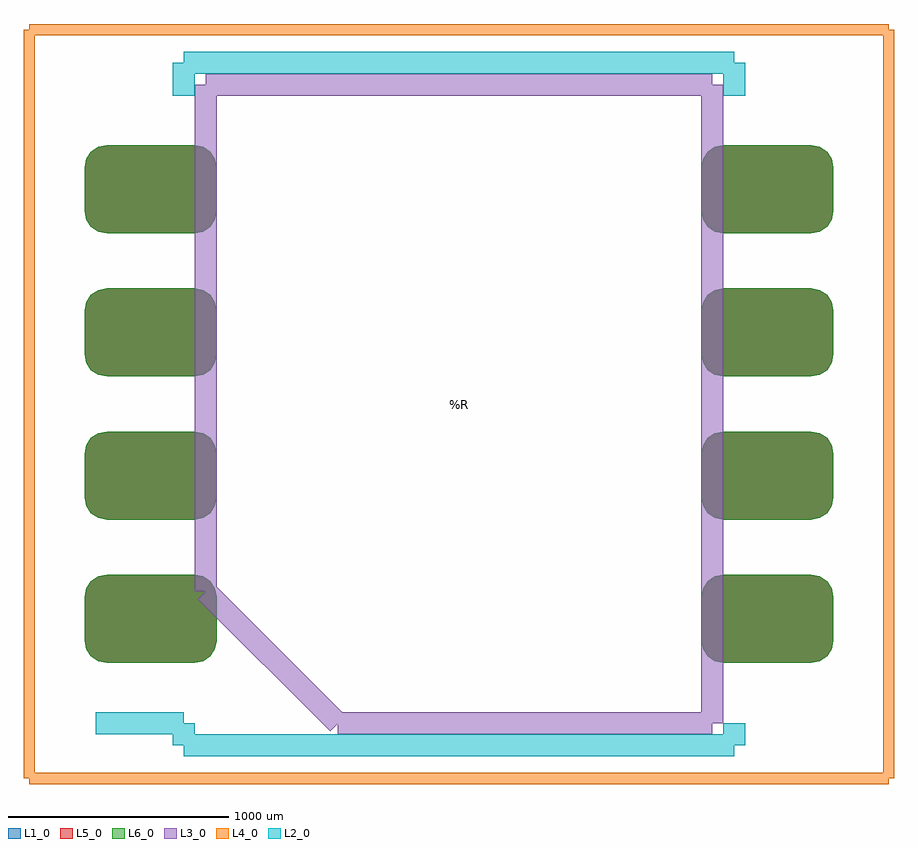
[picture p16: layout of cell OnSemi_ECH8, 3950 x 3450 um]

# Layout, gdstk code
import gdstk
lib = gdstk.Library(unit=1e-6, precision=1e-09)
def P(c, l, *ps):  # polygons
    for p in ps: c.add(gdstk.Polygon(p, *l))
L1_0 = (1, 0)
L2_0 = (2, 0)
L3_0 = (3, 0)
L4_0 = (4, 0)
L5_0 = (5, 0)
L6_0 = (6, 0)

onsemi_ech8 = lib.new_cell('OnSemi_ECH8')
P(onsemi_ech8, L1_0, [(1100,-1075),(1108,-1113),(1129,-1146),(1162,-1167),(1200,-1175),(1600,-1175),(1638,-1167),(1671,-1146),(1692,-1113),(1700,-1075),(1700,-875),(1692,-837),(1671,-804),(1638,-783),(1600,-775),(1200,-775),(1162,-783),(1129,-804),(1108,-837),(1100,-875)],
  [(1100,-425),(1108,-463),(1129,-496),(1162,-517),(1200,-525),(1600,-525),(1638,-517),(1671,-496),(1692,-463),(1700,-425),(1700,-225),(1692,-187),(1671,-154),(1638,-133),(1600,-125),(1200,-125),(1162,-133),(1129,-154),(1108,-187),(1100,-225)],
  [(1100,225),(1108,187),(1129,154),(1162,133),(1200,125),(1600,125),(1638,133),(1671,154),(1692,187),(1700,225),(1700,425),(1692,463),(1671,496),(1638,517),(1600,525),(1200,525),(1162,517),(1129,496),(1108,463),(1100,425)],
  [(1100,875),(1108,837),(1129,804),(1162,783),(1200,775),(1600,775),(1638,783),(1671,804),(1692,837),(1700,875),(1700,1075),(1692,1113),(1671,1146),(1638,1167),(1600,1175),(1200,1175),(1162,1167),(1129,1146),(1108,1113),(1100,1075)],
  [(-1700,875),(-1692,837),(-1671,804),(-1638,783),(-1600,775),(-1200,775),(-1162,783),(-1129,804),(-1108,837),(-1100,875),(-1100,1075),(-1108,1113),(-1129,1146),(-1162,1167),(-1200,1175),(-1600,1175),(-1638,1167),(-1671,1146),(-1692,1113),(-1700,1075)],
  [(-1700,225),(-1692,187),(-1671,154),(-1638,133),(-1600,125),(-1200,125),(-1162,133),(-1129,154),(-1108,187),(-1100,225),(-1100,425),(-1108,463),(-1129,496),(-1162,517),(-1200,525),(-1600,525),(-1638,517),(-1671,496),(-1692,463),(-1700,425)],
  [(-1700,-425),(-1692,-463),(-1671,-496),(-1638,-517),(-1600,-525),(-1200,-525),(-1162,-517),(-1129,-496),(-1108,-463),(-1100,-425),(-1100,-225),(-1108,-187),(-1129,-154),(-1162,-133),(-1200,-125),(-1600,-125),(-1638,-133),(-1671,-154),(-1692,-187),(-1700,-225)],
  [(-1700,-1075),(-1692,-1113),(-1671,-1146),(-1638,-1167),(-1600,-1175),(-1200,-1175),(-1162,-1167),(-1129,-1146),(-1108,-1113),(-1100,-1075),(-1100,-875),(-1108,-837),(-1129,-804),(-1162,-783),(-1200,-775),(-1600,-775),(-1638,-783),(-1671,-804),(-1692,-837),(-1700,-875)])
P(onsemi_ech8, L5_0, [(1100,-1075),(1108,-1113),(1129,-1146),(1162,-1167),(1200,-1175),(1600,-1175),(1638,-1167),(1671,-1146),(1692,-1113),(1700,-1075),(1700,-875),(1692,-837),(1671,-804),(1638,-783),(1600,-775),(1200,-775),(1162,-783),(1129,-804),(1108,-837),(1100,-875)],
  [(1100,-425),(1108,-463),(1129,-496),(1162,-517),(1200,-525),(1600,-525),(1638,-517),(1671,-496),(1692,-463),(1700,-425),(1700,-225),(1692,-187),(1671,-154),(1638,-133),(1600,-125),(1200,-125),(1162,-133),(1129,-154),(1108,-187),(1100,-225)],
  [(1100,225),(1108,187),(1129,154),(1162,133),(1200,125),(1600,125),(1638,133),(1671,154),(1692,187),(1700,225),(1700,425),(1692,463),(1671,496),(1638,517),(1600,525),(1200,525),(1162,517),(1129,496),(1108,463),(1100,425)],
  [(1100,875),(1108,837),(1129,804),(1162,783),(1200,775),(1600,775),(1638,783),(1671,804),(1692,837),(1700,875),(1700,1075),(1692,1113),(1671,1146),(1638,1167),(1600,1175),(1200,1175),(1162,1167),(1129,1146),(1108,1113),(1100,1075)],
  [(-1700,875),(-1692,837),(-1671,804),(-1638,783),(-1600,775),(-1200,775),(-1162,783),(-1129,804),(-1108,837),(-1100,875),(-1100,1075),(-1108,1113),(-1129,1146),(-1162,1167),(-1200,1175),(-1600,1175),(-1638,1167),(-1671,1146),(-1692,1113),(-1700,1075)],
  [(-1700,225),(-1692,187),(-1671,154),(-1638,133),(-1600,125),(-1200,125),(-1162,133),(-1129,154),(-1108,187),(-1100,225),(-1100,425),(-1108,463),(-1129,496),(-1162,517),(-1200,525),(-1600,525),(-1638,517),(-1671,496),(-1692,463),(-1700,425)],
  [(-1700,-425),(-1692,-463),(-1671,-496),(-1638,-517),(-1600,-525),(-1200,-525),(-1162,-517),(-1129,-496),(-1108,-463),(-1100,-425),(-1100,-225),(-1108,-187),(-1129,-154),(-1162,-133),(-1200,-125),(-1600,-125),(-1638,-133),(-1671,-154),(-1692,-187),(-1700,-225)],
  [(-1700,-1075),(-1692,-1113),(-1671,-1146),(-1638,-1167),(-1600,-1175),(-1200,-1175),(-1162,-1167),(-1129,-1146),(-1108,-1113),(-1100,-1075),(-1100,-875),(-1108,-837),(-1129,-804),(-1162,-783),(-1200,-775),(-1600,-775),(-1638,-783),(-1671,-804),(-1692,-837),(-1700,-875)])
P(onsemi_ech8, L6_0, [(1100,-1075),(1108,-1113),(1129,-1146),(1162,-1167),(1200,-1175),(1600,-1175),(1638,-1167),(1671,-1146),(1692,-1113),(1700,-1075),(1700,-875),(1692,-837),(1671,-804),(1638,-783),(1600,-775),(1200,-775),(1162,-783),(1129,-804),(1108,-837),(1100,-875)],
  [(1100,-425),(1108,-463),(1129,-496),(1162,-517),(1200,-525),(1600,-525),(1638,-517),(1671,-496),(1692,-463),(1700,-425),(1700,-225),(1692,-187),(1671,-154),(1638,-133),(1600,-125),(1200,-125),(1162,-133),(1129,-154),(1108,-187),(1100,-225)],
  [(1100,225),(1108,187),(1129,154),(1162,133),(1200,125),(1600,125),(1638,133),(1671,154),(1692,187),(1700,225),(1700,425),(1692,463),(1671,496),(1638,517),(1600,525),(1200,525),(1162,517),(1129,496),(1108,463),(1100,425)],
  [(1100,875),(1108,837),(1129,804),(1162,783),(1200,775),(1600,775),(1638,783),(1671,804),(1692,837),(1700,875),(1700,1075),(1692,1113),(1671,1146),(1638,1167),(1600,1175),(1200,1175),(1162,1167),(1129,1146),(1108,1113),(1100,1075)],
  [(-1700,875),(-1692,837),(-1671,804),(-1638,783),(-1600,775),(-1200,775),(-1162,783),(-1129,804),(-1108,837),(-1100,875),(-1100,1075),(-1108,1113),(-1129,1146),(-1162,1167),(-1200,1175),(-1600,1175),(-1638,1167),(-1671,1146),(-1692,1113),(-1700,1075)],
  [(-1700,225),(-1692,187),(-1671,154),(-1638,133),(-1600,125),(-1200,125),(-1162,133),(-1129,154),(-1108,187),(-1100,225),(-1100,425),(-1108,463),(-1129,496),(-1162,517),(-1200,525),(-1600,525),(-1638,517),(-1671,496),(-1692,463),(-1700,425)],
  [(-1700,-425),(-1692,-463),(-1671,-496),(-1638,-517),(-1600,-525),(-1200,-525),(-1162,-517),(-1129,-496),(-1108,-463),(-1100,-425),(-1100,-225),(-1108,-187),(-1129,-154),(-1162,-133),(-1200,-125),(-1600,-125),(-1638,-133),(-1671,-154),(-1692,-187),(-1700,-225)],
  [(-1700,-1075),(-1692,-1113),(-1671,-1146),(-1638,-1167),(-1600,-1175),(-1200,-1175),(-1162,-1167),(-1129,-1146),(-1108,-1113),(-1100,-1075),(-1100,-875),(-1108,-837),(-1129,-804),(-1162,-783),(-1200,-775),(-1600,-775),(-1638,-783),(-1671,-804),(-1692,-837),(-1700,-875)])
onsemi_ech8.add(gdstk.FlexPath([(1950,-1700),(-1950,-1700)], 50, ends="flush", simple_path=True, layer=4, datatype=0))  # L4_0
onsemi_ech8.add(gdstk.FlexPath([(1950,1700),(1950,-1700)], 50, ends="flush", simple_path=True, layer=4, datatype=0))  # L4_0
onsemi_ech8.add(gdstk.FlexPath([(-1950,1700),(1950,1700)], 50, ends="flush", simple_path=True, layer=4, datatype=0))  # L4_0
onsemi_ech8.add(gdstk.FlexPath([(-1950,-1700),(-1950,1700)], 50, ends="flush", simple_path=True, layer=4, datatype=0))  # L4_0
onsemi_ech8.add(gdstk.FlexPath([(1250,-1550),(1250,-1450)], 100, ends="flush", simple_path=True, layer=2, datatype=0))  # L2_0
onsemi_ech8.add(gdstk.FlexPath([(-1250,-1550),(1250,-1550)], 100, ends="flush", simple_path=True, layer=2, datatype=0))  # L2_0
onsemi_ech8.add(gdstk.FlexPath([(-1250,-1450),(-1250,-1550)], 100, ends="flush", simple_path=True, layer=2, datatype=0))  # L2_0
onsemi_ech8.add(gdstk.FlexPath([(-1650,-1450),(-1250,-1450)], 100, ends="flush", simple_path=True, layer=2, datatype=0))  # L2_0
onsemi_ech8.add(gdstk.FlexPath([(1250,1550),(1250,1400)], 100, ends="flush", simple_path=True, layer=2, datatype=0))  # L2_0
onsemi_ech8.add(gdstk.FlexPath([(-1250,1550),(1250,1550)], 100, ends="flush", simple_path=True, layer=2, datatype=0))  # L2_0
onsemi_ech8.add(gdstk.FlexPath([(-1250,1400),(-1250,1550)], 100, ends="flush", simple_path=True, layer=2, datatype=0))  # L2_0
onsemi_ech8.add(gdstk.FlexPath([(-1150,-850),(-550,-1450)], 100, ends="flush", simple_path=True, layer=3, datatype=0))  # L3_0
onsemi_ech8.add(gdstk.FlexPath([(-1150,1450),(-1150,-850)], 100, ends="flush", simple_path=True, layer=3, datatype=0))  # L3_0
onsemi_ech8.add(gdstk.FlexPath([(1150,1450),(-1150,1450)], 100, ends="flush", simple_path=True, layer=3, datatype=0))  # L3_0
onsemi_ech8.add(gdstk.FlexPath([(1150,-1450),(1150,1450)], 100, ends="flush", simple_path=True, layer=3, datatype=0))  # L3_0
onsemi_ech8.add(gdstk.FlexPath([(-550,-1450),(1150,-1450)], 100, ends="flush", simple_path=True, layer=3, datatype=0))  # L3_0
onsemi_ech8.add(gdstk.Label('REF**', (0,-2500), layer=2, texttype=0))
onsemi_ech8.add(gdstk.Label('OnSemi_ECH8', (0,2250), layer=3, texttype=0))
onsemi_ech8.add(gdstk.Label('%R', (0,0), layer=3, texttype=0))

lib.write_gds('OnSemi_ECH8.gds')
